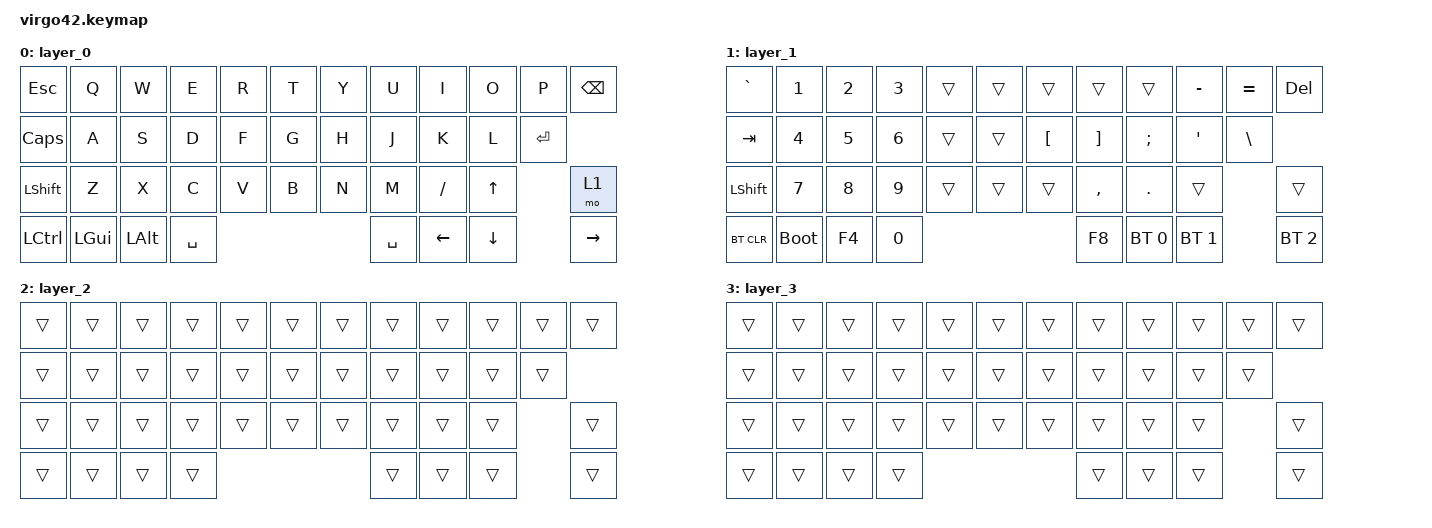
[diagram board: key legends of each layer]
/*
 * Copyright (c) 2020 The ZMK Contributors
 *
 * SPDX-License-Identifier: MIT
 */

#include <behaviors.dtsi>
#include <dt-bindings/zmk/bt.h>
#include <dt-bindings/zmk/keys.h>

/ {
    keymap0: keymap {
        compatible = "zmk,keymap";

        layer_0 {
            // -------------------------------------------------------------------------
            // | ESC  |  Q  |  W  |  E  |  R  |  T  |  Y  |  U  |  I  |  O  |  P  |BKSP|
            // | CAPS  |  A  |  S  |  D  |  F  |  G  |  H  |  J  |  K  |  L  |  ENTER  | 
            // |  SHIFT   |  Z  |  X  |  C  |  V  |  B  |  N  |  M  |  / |  UP  |  fn  |
            // |  CTL | WIN |  ALT  |    SPACE    |       SPACE   | LEFT | DOWN | RIGHT|  
            // -------------------------------------------------------------------------

            bindings = <
&kp ESC    &kp Q     &kp W     &kp E      &kp R  &kp T  &kp Y  &kp U      &kp I     &kp O     &kp P    &kp BSPC
&kp CLCK   &kp A     &kp S     &kp D      &kp F  &kp G  &kp H  &kp J      &kp K     &kp L     &kp RET
&kp LSHFT  &kp Z     &kp X     &kp C      &kp V  &kp B  &kp N  &kp M      &kp FSLH  &kp UP             &mo 1
&kp LCTRL  &kp LGUI  &kp LALT  &kp SPACE                       &kp SPACE  &kp LEFT  &kp DOWN           &kp RIGHT
            >;
        };

        layer_1 {
            // -------------------------------------------------------------------------
            // | ~  |  1   |  2  |  3  |  R  |  T  |  Y  |  U  |  I  |  -  |  =  |BKSP |
            // | TAB  |  4  |  5  |  6   |  F  |  G  |  [  |  ]  |  ;  |  '  |    "|"  |
            // |  SHIFT   |  7  |  8  |  9  |  V  |  B  |  N  |   ,  |  .  |  UP |  fn |
            // |  BT_CLR  | BOOT |  ALT  |     0    |       SPACE    | BT0 | BT1 | BT2 |
            // -------------------------------------------------------------------------

            bindings = <
&kp GRAVE   &kp N1       &kp N2  &kp N3  &trans  &trans  &trans    &trans     &trans        &kp MINUS     &kp EQUAL  &kp DEL
&kp TAB     &kp N4       &kp N5  &kp N6  &trans  &trans  &kp LBKT  &kp RBKT   &kp SEMI      &kp SQT       &kp BSLH
&kp LSHFT   &kp N7       &kp N8  &kp N9  &trans  &trans  &trans    &kp COMMA  &kp DOT       &trans                   &trans
&bt BT_CLR  &bootloader  &kp F4  &kp N0                            &kp F8     &bt BT_SEL 0  &bt BT_SEL 1             &bt BT_SEL 2
            >;
        };

        layer_2 {
            bindings = <
&trans  &trans  &trans  &trans  &trans  &trans  &trans  &trans  &trans  &trans  &trans  &trans
&trans  &trans  &trans  &trans  &trans  &trans  &trans  &trans  &trans  &trans  &trans
&trans  &trans  &trans  &trans  &trans  &trans  &trans  &trans  &trans  &trans          &trans
&trans  &trans  &trans  &trans                          &trans  &trans  &trans          &trans
            >;
        };

        layer_3 {
            bindings = <
&trans  &trans  &trans  &trans  &trans  &trans  &trans  &trans  &trans  &trans  &trans  &trans
&trans  &trans  &trans  &trans  &trans  &trans  &trans  &trans  &trans  &trans  &trans
&trans  &trans  &trans  &trans  &trans  &trans  &trans  &trans  &trans  &trans          &trans
&trans  &trans  &trans  &trans                          &trans  &trans  &trans          &trans
            >;
        };
    };
};
